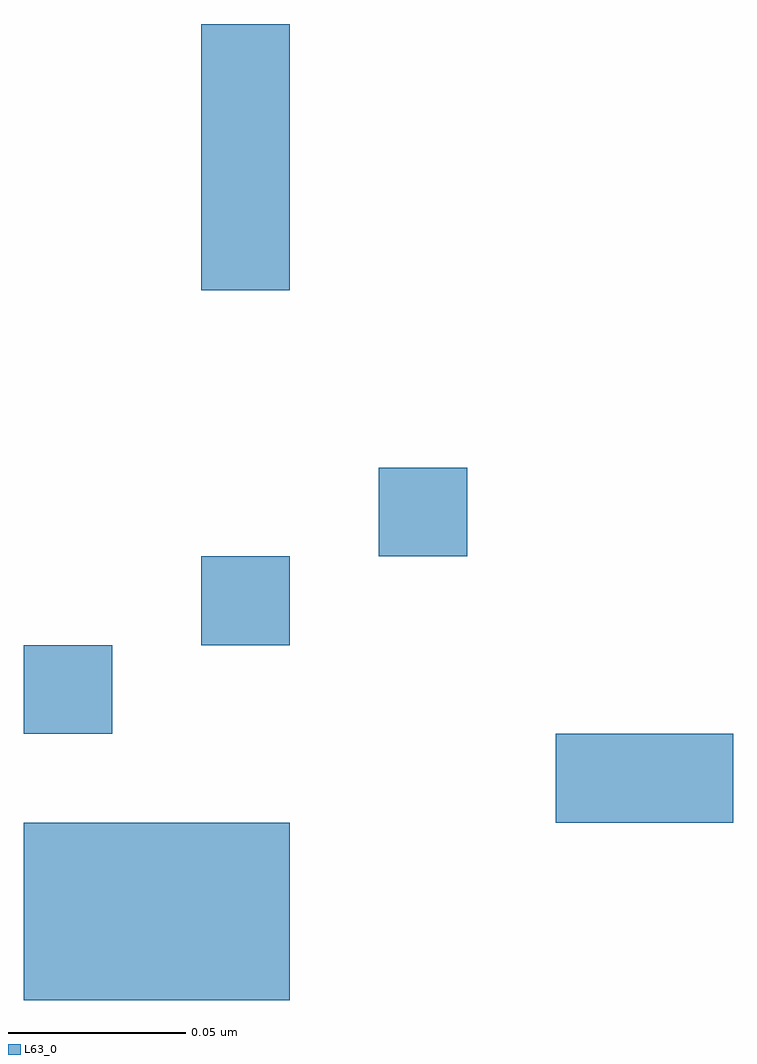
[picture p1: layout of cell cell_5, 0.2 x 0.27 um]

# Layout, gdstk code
import gdstk
lib = gdstk.Library(unit=1e-6, precision=1e-09)
def R(c, l, rs):  # rectangles x0, y0, x1, y1
    for r in rs: c.add(gdstk.rectangle(r[:2], r[2:], *l))
L63_0 = (63, 0)

cell_5 = lib.new_cell('cell_5')
R(cell_5, L63_0, [(0.075,0.025,0.15,0.075), (0.225,0.075,0.275,0.1), (0.075,0.1,0.1,0.125), (0.125,0.125,0.15,0.15), (0.175,0.15,0.2,0.175), (0.125,0.225,0.15,0.3)])

lib.write_gds('cell_5.gds')
